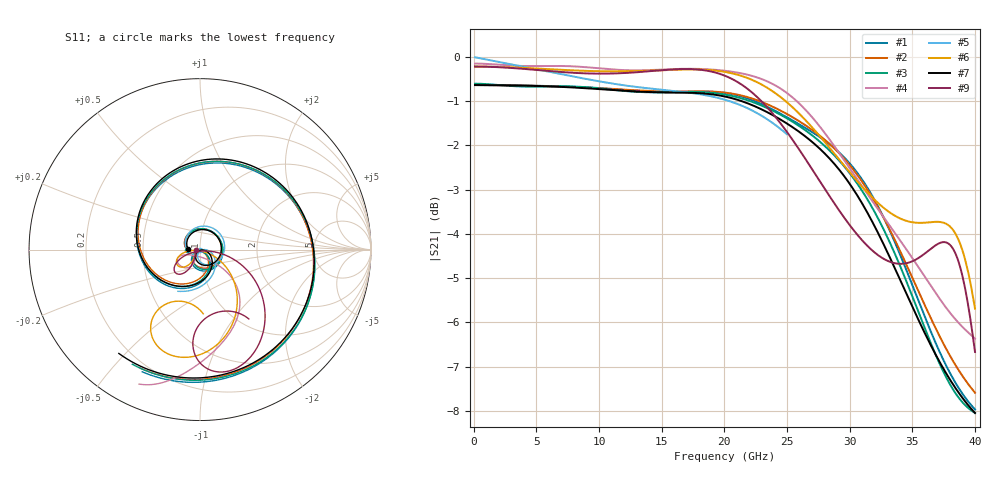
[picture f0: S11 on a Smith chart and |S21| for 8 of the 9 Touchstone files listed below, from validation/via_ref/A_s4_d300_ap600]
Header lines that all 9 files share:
# Hz S RI R 50
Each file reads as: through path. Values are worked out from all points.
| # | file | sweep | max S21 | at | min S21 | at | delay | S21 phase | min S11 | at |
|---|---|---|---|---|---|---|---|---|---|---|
| 1 | cst.s2p | 100 MHz to 40 GHz | -0.64 dB | 200 MHz | -8.0 dB | 40 GHz | 64.7 ps | -96 deg at 20.1 GHz | -38.7 dB | 19.7 GHz |
| 2 | cst_fine.s2p | 100 MHz to 40 GHz | -0.64 dB | 200 MHz | -7.6 dB | 40 GHz | 64.6 ps | -96 deg at 20.1 GHz | -40.2 dB | 19.8 GHz |
| 3 | kisi.s2p | 100 MHz to 40 GHz | -0.61 dB | 100 MHz | -8.0 dB | 40 GHz | 65 ps | -99 deg at 20.1 GHz | -38.6 dB | 19.5 GHz |
| 4 | kisi_deembedded.s2p | 100 MHz to 40 GHz | -0.15 dB | 100 MHz | -6.4 dB | 40 GHz | 14.6 ps | -98 deg at 20.1 GHz | -33.3 dB | 100 MHz |
| 5 | kisi_model.s2p | 100 MHz to 25 GHz | -0.01 dB | 100 MHz | -1.8 dB | 25 GHz | 61.9 ps | 84 deg at 12.6 GHz | -52.1 dB | 100 MHz |
| 6 | ladder.s2p | 100 MHz to 40 GHz | -0.22 dB | 100 MHz | -5.7 dB | 40 GHz | 17.3 ps | -100 deg at 20.1 GHz | -42.6 dB | 18.9 GHz |
| 7 | openems.s2p | 100 MHz to 40 GHz | -0.64 dB | 100 MHz | -8.0 dB | 40 GHz | 65.4 ps | -103 deg at 20.1 GHz | -47.6 dB | 18.7 GHz |
| 8 | openems_base.s2p | 100 MHz to 40 GHz | -0.64 dB | 100 MHz | -9.1 dB | 40 GHz | 65.5 ps | -105 deg at 20.1 GHz | -41.1 dB | 18.2 GHz |
| 9 | pbm.s2p | 100 MHz to 40 GHz | -0.22 dB | 100 MHz | -6.7 dB | 40 GHz | 15.7 ps | -92 deg at 20.1 GHz | -40.6 dB | 17.8 GHz |
